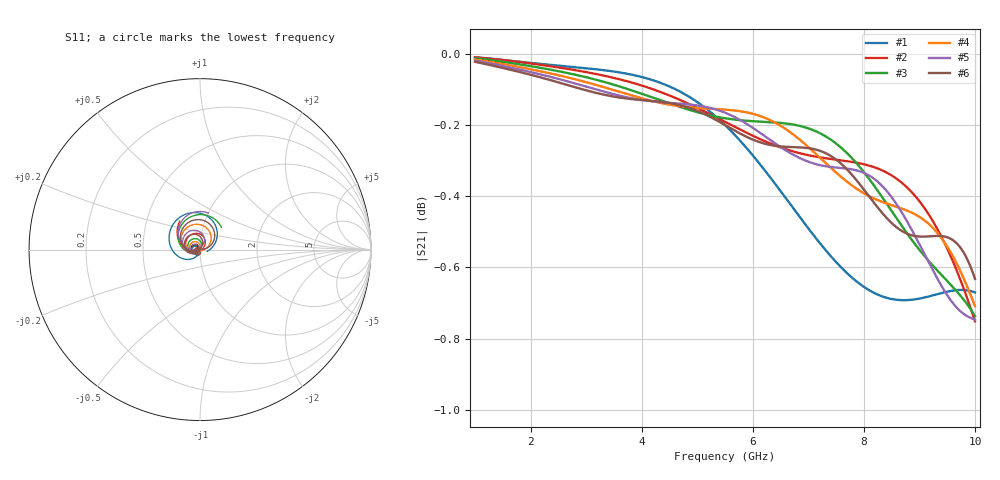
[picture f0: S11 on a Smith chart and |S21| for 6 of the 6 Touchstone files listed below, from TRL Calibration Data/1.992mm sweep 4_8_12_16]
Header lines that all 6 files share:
! Touchstone file exported from HFSS 2018.2.0
!  File:  C:/Users/10024/OneDrive - The University of Nottingham Ningbo China/Year 4/Final Year Project/HFSS project/Passive_Resonator_Antenna.aedt
!  Design:  SMA_Thru
!  Project:  Passive_Resonator_Antenna
!  Setup:  Setup1
!  Solution:  Sweep
! Variables:
# GHZ S MA R 50.000000
! Modal data exported
! Port[1] = SMA_CONNECTOR1_1:1
! Port[2] = SMA_CONNECTOR2_1:1
Fixed: MW = 1.992mm, g = 0.2mm, subH = 0.8mm, subX = 20mm, tapW = 1.992mm
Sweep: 1 GHz to 10 GHz
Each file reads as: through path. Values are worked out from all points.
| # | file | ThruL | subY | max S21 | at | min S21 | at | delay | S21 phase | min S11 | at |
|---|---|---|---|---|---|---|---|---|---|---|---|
| 1 | 0.001.s2p | 0.001mm | 10.001mm | -0.01 dB | 1 GHz | -0.7 dB | 8.72 GHz | 117 ps | 128 deg at 5.5 GHz | -43.9 dB | 3.96 GHz |
| 2 | 4.s2p | 4mm | 14mm | -0.01 dB | 1 GHz | -0.8 dB | 10 GHz | 137 ps | 91 deg at 5.5 GHz | -46.1 dB | 8.38 GHz |
| 3 | 8.s2p | 8mm | 18mm | -0.01 dB | 1 GHz | -0.7 dB | 10 GHz | 158 ps | 50 deg at 5.5 GHz | -57.5 dB | 6.94 GHz |
| 4 | 12.s2p | 12mm | 22mm | -0.02 dB | 1 GHz | -0.7 dB | 10 GHz | 180 ps | 8 deg at 5.5 GHz | -47.3 dB | 2.56 GHz |
| 5 | 16.s2p | 16mm | 26mm | -0.02 dB | 1 GHz | -0.7 dB | 10 GHz | 201 ps | -34 deg at 5.5 GHz | -47.8 dB | 2.28 GHz |
| 6 | 20.s2p | 20mm | 30mm | -0.02 dB | 1 GHz | -0.6 dB | 10 GHz | 222 ps | -76 deg at 5.5 GHz | -50.8 dB | 2.04 GHz |
